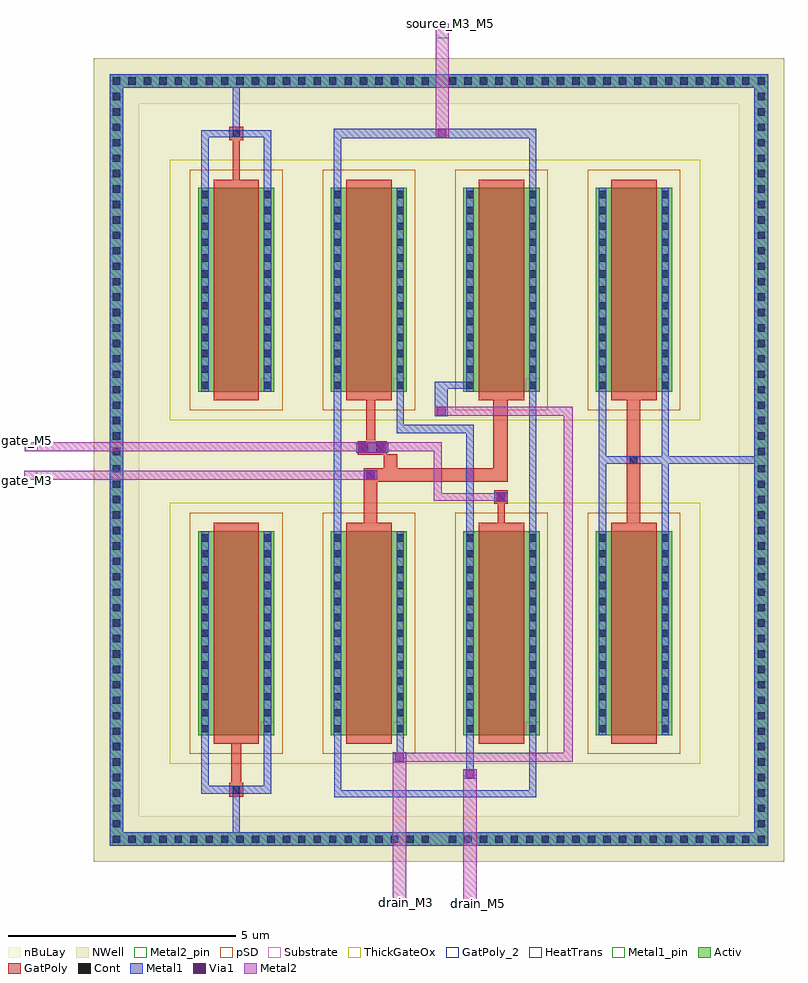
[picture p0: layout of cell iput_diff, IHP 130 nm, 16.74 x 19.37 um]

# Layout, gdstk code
from math import pi, radians
import gdstk
lib = gdstk.Library(unit=1e-6, precision=5e-09)
def R(c, l, rs):  # rectangles x0, y0, x1, y1
    for r in rs: c.add(gdstk.rectangle(r[:2], r[2:], *l))
def A(c, l, x, y, w, h, nx, ny, dx, dy):  # array of equal rectangles
    R(c, l, [(x+i*dx, y+j*dy, x+i*dx+w, y+j*dy+h) for i in range(nx) for j in range(ny)])
def P(c, l, *ps):  # polygons
    for p in ps: c.add(gdstk.Polygon(p, *l))
Activ = (1, 0)
GatPoly = (5, 0)
GatPoly_2 = (5, 2)
Cont = (6, 0)
Metal1 = (8, 0)
Metal1_pin = (8, 2)
Metal2 = (10, 0)
Metal2_pin = (10, 2)
pSD = (14, 0)
Via1 = (19, 0)
NWell = (31, 0)
nBuLay = (32, 0)
Substrate = (40, 0)
ThickGateOx = (44, 0)
HeatTrans = (51, 0)

pmoshv_2 = lib.new_cell('pmosHV$2')
R(pmoshv_2, Activ, [(0,0,0.3,0.3), (0,0,1.68,4.5), (1.38,0,1.68,0.3)])
R(pmoshv_2, GatPoly, [(0.34,-0.18,1.34,4.68)])
R(pmoshv_2, GatPoly_2, [(0.34,-0.18,1.34,4.68)])
A(pmoshv_2, Cont, 0.07, 0.07, 0.16, 0.16, 1, 13, 0, 0.35)
A(pmoshv_2, Cont, 1.45, 0.07, 0.16, 0.16, 1, 13, 0, 0.35)
R(pmoshv_2, Metal1, [(0.07,0,0.23,4.5), (1.45,0,1.61,4.5)])
R(pmoshv_2, Metal1_pin, [(0.07,0,0.23,4.5), (1.45,0,1.61,4.5)])
R(pmoshv_2, pSD, [(-0.18,-0.4,1.86,4.9)])
R(pmoshv_2, NWell, [(-0.62,-0.62,2.3,5.12)])
R(pmoshv_2, Substrate, [(1.38,0,1.68,0.3)])
R(pmoshv_2, ThickGateOx, [(-0.62,-0.62,2.3,5.12)])
R(pmoshv_2, HeatTrans, [(0.34,-0.18,1.34,4.68)])
pmoshv_2.add(gdstk.Label('pmosHV', (0.84,2.25), layer=63, texttype=0))
pmoshv_2.add(gdstk.Label('pmos', (0.84,2.25), layer=51, texttype=0))

via_stack = lib.new_cell('via_stack')
R(via_stack, Metal1, [(-0.145,-0.105,0.145,0.105)])
R(via_stack, Metal2, [(-0.145,-0.1,0.145,0.1)])
R(via_stack, Via1, [(-0.095,-0.095,0.095,0.095)])

via_stack_3 = lib.new_cell('via_stack$3')
R(via_stack_3, GatPoly, [(-0.32,-0.15,0.32,0.15)])
R(via_stack_3, Cont, [(-0.25,-0.08,-0.09,0.08), (0.09,-0.08,0.25,0.08)])
R(via_stack_3, Metal1, [(-0.35,-0.105,0.35,0.105)])
R(via_stack_3, Metal2, [(-0.35,-0.1,0.35,0.1)])
R(via_stack_3, Via1, [(-0.3,-0.095,-0.11,0.095), (0.11,-0.095,0.3,0.095)])

via_stack_1 = lib.new_cell('via_stack$1')
R(via_stack_1, GatPoly, [(-0.15,-0.15,0.15,0.15)])
R(via_stack_1, Cont, [(-0.08,-0.08,0.08,0.08)])
R(via_stack_1, Metal1, [(-0.145,-0.105,0.145,0.105)])
R(via_stack_1, Metal2, [(-0.145,-0.1,0.145,0.1)])
R(via_stack_1, Via1, [(-0.095,-0.095,0.095,0.095)])

guard_ring_5 = lib.new_cell('guard_ring$5')
R(guard_ring_5, Activ, [(-7.25,-8.2,-6.95,8.2), (6.95,-8.2,7.25,8.2), (-7.25,8.2,7.25,8.5)])
P(guard_ring_5, Activ, [(-7.25,-8.5),(-7.25,8.2),(-6.95,8.2),(-6.95,-8.2),(6.95,-8.2),(6.95,8.2),(-7.25,8.2),(-7.25,8.5),(7.25,8.5),(7.25,-8.5)])
A(guard_ring_5, Cont, -7.18, -8.43, 0.16, 0.16, 21, 2, 0.34, 16.7)
A(guard_ring_5, Cont, 0.22, -8.43, 0.16, 0.16, 21, 2, 0.34, 16.7)
A(guard_ring_5, Cont, -7.18, -8.09, 0.16, 0.16, 1, 24, 0, 0.34)
A(guard_ring_5, Cont, 7.02, -8.09, 0.16, 0.16, 1, 24, 0, 0.34)
A(guard_ring_5, Cont, -7.18, 0.11, 0.16, 0.16, 1, 24, 0, 0.34)
A(guard_ring_5, Cont, 7.02, 0.11, 0.16, 0.16, 1, 24, 0, 0.34)
R(guard_ring_5, Metal1, [(-7.25,-8.5,7.25,-8.2), (-7.25,-8.2,-6.95,8.2), (6.95,-8.2,7.25,8.2), (-7.25,8.2,7.25,8.5)])
R(guard_ring_5, NWell, [(-7.6,-8.85,7.6,8.85)])
R(guard_ring_5, nBuLay, [(-7.6,-7.85,-6.6,7.85), (6.6,-7.85,7.6,7.85), (-7.6,7.85,7.6,8.85)])
P(guard_ring_5, nBuLay, [(-7.6,-8.85),(-7.6,7.85),(-6.6,7.85),(-6.6,-7.85),(6.6,-7.85),(6.6,7.85),(-7.6,7.85),(-7.6,8.85),(7.6,8.85),(7.6,-8.85)])
guard_ring_5.add(gdstk.Label('well', (0,-8.35), layer=63, texttype=0))

via_stack_5 = lib.new_cell('via_stack$5')
R(via_stack_5, GatPoly, [(-0.15,-0.15,0.15,0.15)])
R(via_stack_5, Cont, [(-0.08,-0.08,0.08,0.08)])
R(via_stack_5, Metal1, [(-0.13,-0.08,0.13,0.08)])

iput_diff = lib.new_cell('iput_diff')
R(iput_diff, GatPoly, [(-4.79,-3.465,-4.49,-3.165), (-4.755,-3.33,-4.535,-2.305), (-4.715,-3.165,-4.56,-2.305), (-1.83,2.555,-1.53,3.76), (1.125,2.555,1.27,2.975), (3.96,2.555,4.26,5.26), (1.04,2.975,1.34,3.275), (-1.83,3.46,1.345,3.76), (1.025,3.76,1.345,5.26), (-1.39,3.765,-1.09,4.065), (-1.78,4.38,-1.575,5.26), (-4.72,10.12,-4.565,10.98), (-4.79,10.98,-4.49,11.28)])
R(iput_diff, Metal1, [(-4.72,-4.56,-4.56,-3.235), (-2.485,-3.49,-2.325,-1.89), (-2.485,-3.49,1.97,-3.33), (1.81,-3.49,1.97,-2.125), (-5.41,-3.41,-5.25,-2.125), (-5.41,-3.41,-4.77,-3.235), (-4.77,-3.41,-4.51,-3.235), (-4.51,-3.41,-3.87,-3.235), (-4.03,-3.41,-3.87,-2.125), (0.365,-3.08,0.655,-2.87), (0.43,-2.87,0.59,-2.125), (-1.19,-2.71,-0.9,-2.505), (-1.11,-2.5,-0.95,-2.125), (-2.49,2.375,-2.33,5.44), (0.43,2.375,0.59,4.715), (1.81,2.375,1.97,5.44), (3.35,2.375,3.51,4.02), (4.73,2.375,4.89,4.02), (3.35,3.86,3.98,4.02), (3.35,3.86,3.51,5.44), (3.98,3.86,7.075,4.02), (4.73,3.86,4.89,5.44), (-1.11,4.535,-0.95,5.44), (-1.11,4.535,0.59,4.715), (-0.27,4.915,0.02,5.67), (-0.27,5.51,0.43,5.67), (-2.49,9.71,-2.33,11.24), (1.81,9.71,1.97,11.24), (-5.41,9.94,-5.25,11.21), (-4.03,9.94,-3.87,11.21), (-2.49,11.03,1.97,11.24), (-5.41,11.05,-4.77,11.21), (-4.77,11.05,-4.51,11.21), (-4.72,11.05,-4.56,12.44), (-4.51,11.05,-3.87,11.21)])
R(iput_diff, Metal2, [(-1.19,-5.82,-0.9,-5.53), (-1.19,-5.82,-0.9,-2.505), (0.365,-5.82,0.655,-2.875), (0.365,-5.82,0.655,-5.53), (-1.19,-2.705,2.77,-2.505), (2.57,-2.705,2.77,5.115), (1.045,3.025,1.335,3.225), (-0.295,3.045,1.045,3.205), (-0.295,3.045,-0.115,4.33), (-9.315,3.51,-1.535,3.71), (-9.295,4.13,-0.115,4.33), (-0.27,4.915,2.77,5.115), (-0.25,11.035,0.04,13.55)])
R(iput_diff, Metal2_pin, [(-9.295,4.13,-9.015,4.33), (-0.25,13.235,0.04,13.55)])
P(iput_diff, Metal2_pin, [(-9.315,3.51),(-9.315,3.58),(-9.315,3.71),(-9.02,3.71),(-9.02,3.51)])
iput_diff.add(gdstk.Reference(pmoshv_2, (-2.56,5.44)))
iput_diff.add(gdstk.Reference(pmoshv_2, (0.36,5.44)))
iput_diff.add(gdstk.Reference(pmoshv_2, (-2.56,-2.125)))
iput_diff.add(gdstk.Reference(pmoshv_2, (0.36,-2.125)))
iput_diff.add(gdstk.Reference(pmoshv_2, (3.28,5.44)))
iput_diff.add(gdstk.Reference(pmoshv_2, (-5.48,-2.125)))
iput_diff.add(gdstk.Reference(pmoshv_2, (-5.48,5.44)))
iput_diff.add(gdstk.Reference(pmoshv_2, (3.28,-2.125)))
iput_diff.add(gdstk.Reference(via_stack, (-0.105,11.135)))
iput_diff.add(gdstk.Reference(via_stack_3, (-1.645,4.21)))
iput_diff.add(gdstk.Reference(via_stack_1, (1.19,3.125)))
iput_diff.add(gdstk.Reference(via_stack_1, (-1.68,3.61)))
iput_diff.add(gdstk.Reference(via_stack, (0.51,-2.975), rotation=pi))
iput_diff.add(gdstk.Reference(via_stack, (-0.125,5.015)))
iput_diff.add(gdstk.Reference(via_stack, (-1.045,-2.605), rotation=pi))
iput_diff.add(gdstk.Reference(guard_ring_5, (-0.175,3.94)))
iput_diff.add(gdstk.Reference(via_stack_5, (-4.64,-3.33)))
iput_diff.add(gdstk.Reference(via_stack_5, (-4.64,11.13)))
iput_diff.add(gdstk.Reference(via_stack_5, (4.11,3.94)))
iput_diff.add(gdstk.Reference(via_stack_5, (-4.64,-3.315), rotation=pi))
iput_diff.add(gdstk.Label('drain_M5', (0.695,-5.83), layer=10, texttype=0))
iput_diff.add(gdstk.Label('drain_M3', (-0.88,-5.815), layer=10, texttype=0))
iput_diff.add(gdstk.Label('gate_M5', (-9.31,4.375), layer=10, texttype=0))
iput_diff.add(gdstk.Label('gate_M3', (-9.35,3.485), layer=10, texttype=0))
iput_diff.add(gdstk.Label('source_M3_M5', (0.08,13.55), layer=10, texttype=0))

lib.write_gds('iput_diff.gds')
